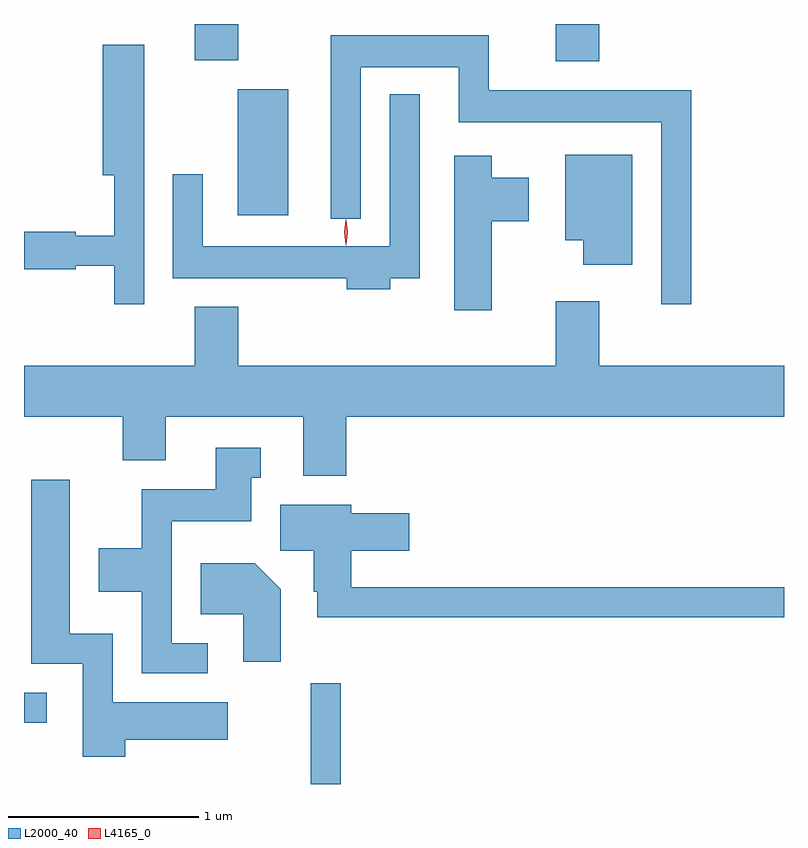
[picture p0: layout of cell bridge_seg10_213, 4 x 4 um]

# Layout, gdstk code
import gdstk
lib = gdstk.Library(unit=1e-6, precision=1e-09)
def R(c, l, rs):  # rectangles x0, y0, x1, y1
    for r in rs: c.add(gdstk.rectangle(r[:2], r[2:], *l))
def P(c, l, *ps):  # polygons
    for p in ps: c.add(gdstk.Polygon(p, *l))
L2000_40 = (2000, 40)
L4165_0 = (4165, 0)

bridge_seg10_213 = lib.new_cell('bridge_seg10_213')
R(bridge_seg10_213, L2000_40, [(1797.031,2092.003,1797.189,2092.533), (1795.522,2092.326,1795.643,2092.484), (1796.646,2094.996,1796.914,2095.659), (1798.321,2095.806,1798.549,2096.003), (1796.421,2095.811,1796.649,2096.003)])
P(bridge_seg10_213, L2000_40, [(1799.034,2095.654),(1797.969,2095.654),(1797.969,2095.944),(1797.136,2095.944),(1797.136,2094.978),(1797.294,2094.978),(1797.294,2095.776),(1797.811,2095.776),(1797.811,2095.486),(1798.876,2095.486),(1798.876,2094.528),(1799.034,2094.528)],
  [(1796.154,2095.894),(1795.936,2095.894),(1795.936,2095.206),(1795.996,2095.206),(1795.996,2094.889),(1795.794,2094.889),(1795.794,2094.909),(1795.522,2094.909),(1795.522,2094.711),(1795.794,2094.711),(1795.794,2094.731),(1795.996,2094.731),(1795.996,2094.528),(1796.154,2094.528)],
  [(1797.449,2094.666),(1797.604,2094.666),(1797.604,2095.633),(1797.446,2095.633),(1797.446,2094.834),(1796.464,2094.834),(1796.464,2095.213),(1796.306,2095.213),(1796.306,2094.666),(1797.221,2094.666),(1797.221,2094.606),(1797.449,2094.606)],
  [(1798.724,2095.314),(1798.371,2095.314),(1798.371,2094.866),(1798.466,2094.866),(1798.466,2094.736),(1798.724,2094.736)],
  [(1797.984,2094.966),(1798.179,2094.966),(1798.179,2095.194),(1797.984,2095.194),(1797.984,2095.309),(1797.786,2095.309),(1797.786,2094.496),(1797.984,2094.496)],
  [(1797.219,2093.936),(1799.522,2093.936),(1799.522,2094.204),(1798.549,2094.204),(1798.549,2094.544),(1798.321,2094.544),(1798.321,2094.204),(1796.649,2094.204),(1796.649,2094.514),(1796.421,2094.514),(1796.421,2094.204),(1795.522,2094.204),(1795.522,2093.936),(1796.041,2093.936),(1796.041,2093.706),(1796.269,2093.706),(1796.269,2093.936),(1796.991,2093.936),(1796.991,2093.626),(1797.219,2093.626)],
  [(1796.488,2092.744),(1796.299,2092.744),(1796.299,2093.386),(1796.719,2093.386),(1796.719,2093.616),(1796.768,2093.616),(1796.768,2093.774),(1796.531,2093.774),(1796.531,2093.554),(1796.141,2093.554),(1796.141,2093.244),(1795.916,2093.244),(1795.916,2093.016),(1796.141,2093.016),(1796.141,2092.586),(1796.488,2092.586)],
  [(1796.054,2092.236),(1796.594,2092.236),(1796.594,2092.434),(1795.989,2092.434),(1795.989,2092.794),(1795.764,2092.794),(1795.764,2093.604),(1795.561,2093.604),(1795.561,2092.636),(1795.831,2092.636),(1795.831,2092.146),(1796.054,2092.146)],
  [(1799.522,2093.039),(1797.244,2093.039),(1797.244,2093.231),(1797.549,2093.231),(1797.549,2093.429),(1797.244,2093.429),(1797.244,2093.474),(1796.871,2093.474),(1796.871,2093.231),(1797.046,2093.231),(1797.046,2093.016),(1797.066,2093.016),(1797.066,2092.881),(1799.522,2092.881)],
  [(1796.874,2093.027),(1796.737,2093.164),(1796.451,2093.164),(1796.451,2092.896),(1796.676,2092.896),(1796.676,2092.646),(1796.874,2092.646)])
P(bridge_seg10_213, L4165_0, [(1797.217,2094.839),(1797.216,2094.84),(1797.207,2094.906),(1797.216,2094.972),(1797.216,2094.973),(1797.217,2094.972),(1797.227,2094.906),(1797.217,2094.84)])

lib.write_gds('bridge_seg10_213.gds')
